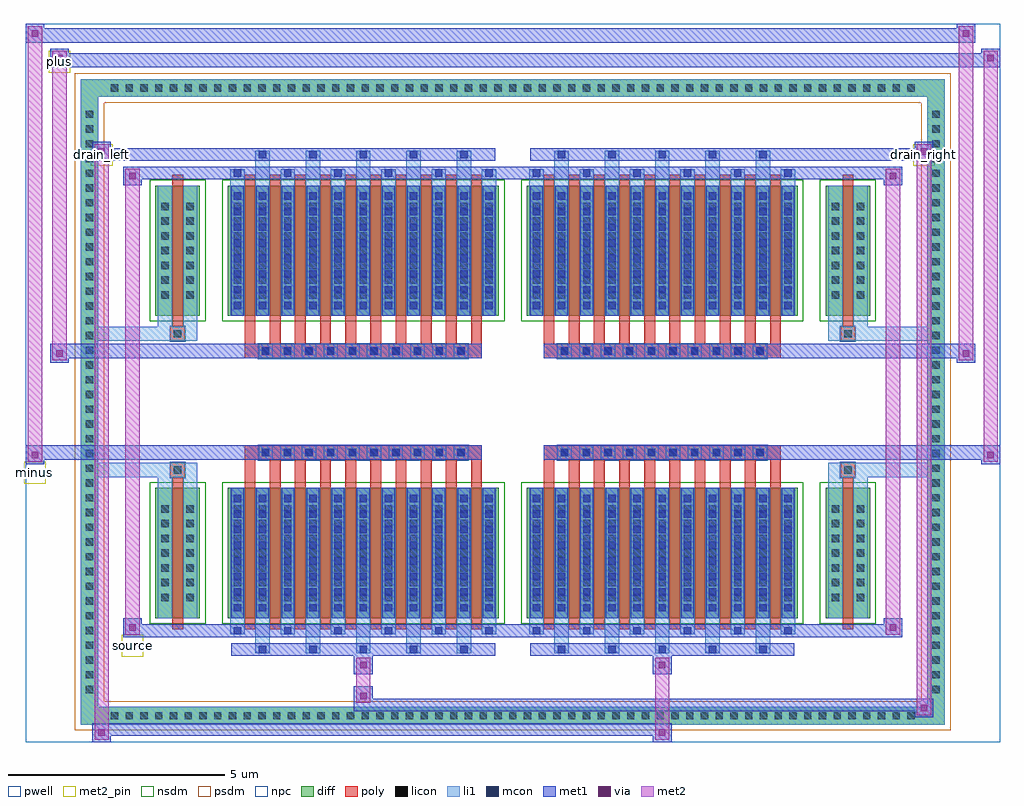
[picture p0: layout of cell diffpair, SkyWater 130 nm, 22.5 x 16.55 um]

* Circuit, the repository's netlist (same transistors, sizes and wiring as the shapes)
* NGSPICE file created from diffpair.ext - technology: sky130A

.subckt diffpair minus drain_right drain_left source plus
X0 drain_left plus source a_n1992_n1488# sky130_fd_pr__nfet_01v8 ad=0.495 pd=3.33 as=0.495 ps=3.33 w=3 l=0.25
X1 drain_left plus source a_n1992_n1488# sky130_fd_pr__nfet_01v8 ad=0.495 pd=3.33 as=0.495 ps=3.33 w=3 l=0.25
X2 drain_right minus source a_n1992_n1488# sky130_fd_pr__nfet_01v8 ad=0.495 pd=3.33 as=0.495 ps=3.33 w=3 l=0.25
X3 source minus drain_right a_n1992_n1488# sky130_fd_pr__nfet_01v8 ad=0.495 pd=3.33 as=0.495 ps=3.33 w=3 l=0.25
X4 drain_left plus source a_n1992_n1488# sky130_fd_pr__nfet_01v8 ad=0.495 pd=3.33 as=1.17 ps=6.78 w=3 l=0.25
X5 source minus drain_right a_n1992_n1488# sky130_fd_pr__nfet_01v8 ad=0.495 pd=3.33 as=0.495 ps=3.33 w=3 l=0.25
X6 drain_right minus source a_n1992_n1488# sky130_fd_pr__nfet_01v8 ad=0.495 pd=3.33 as=0.495 ps=3.33 w=3 l=0.25
X7 drain_left plus source a_n1992_n1488# sky130_fd_pr__nfet_01v8 ad=0.495 pd=3.33 as=0.495 ps=3.33 w=3 l=0.25
X8 source minus drain_right a_n1992_n1488# sky130_fd_pr__nfet_01v8 ad=0.495 pd=3.33 as=0.495 ps=3.33 w=3 l=0.25
X9 drain_right minus source a_n1992_n1488# sky130_fd_pr__nfet_01v8 ad=0.495 pd=3.33 as=1.17 ps=6.78 w=3 l=0.25
X10 a_n1992_n1488# a_n1992_n1488# a_n1992_n1488# a_n1992_n1488# sky130_fd_pr__nfet_01v8 ad=1.17 pd=6.78 as=9.36 ps=54.24 w=3 l=0.25
X11 source plus drain_left a_n1992_n1488# sky130_fd_pr__nfet_01v8 ad=1.17 pd=6.78 as=0.495 ps=3.33 w=3 l=0.25
X12 source plus drain_left a_n1992_n1488# sky130_fd_pr__nfet_01v8 ad=0.495 pd=3.33 as=0.495 ps=3.33 w=3 l=0.25
X13 drain_left plus source a_n1992_n1488# sky130_fd_pr__nfet_01v8 ad=0.495 pd=3.33 as=0.495 ps=3.33 w=3 l=0.25
X14 drain_left plus source a_n1992_n1488# sky130_fd_pr__nfet_01v8 ad=0.495 pd=3.33 as=1.17 ps=6.78 w=3 l=0.25
X15 source minus drain_right a_n1992_n1488# sky130_fd_pr__nfet_01v8 ad=0.495 pd=3.33 as=0.495 ps=3.33 w=3 l=0.25
X16 source minus drain_right a_n1992_n1488# sky130_fd_pr__nfet_01v8 ad=0.495 pd=3.33 as=0.495 ps=3.33 w=3 l=0.25
X17 drain_left plus source a_n1992_n1488# sky130_fd_pr__nfet_01v8 ad=0.495 pd=3.33 as=0.495 ps=3.33 w=3 l=0.25
X18 source minus drain_right a_n1992_n1488# sky130_fd_pr__nfet_01v8 ad=1.17 pd=6.78 as=0.495 ps=3.33 w=3 l=0.25
X19 drain_left plus source a_n1992_n1488# sky130_fd_pr__nfet_01v8 ad=0.495 pd=3.33 as=0.495 ps=3.33 w=3 l=0.25
X20 source plus drain_left a_n1992_n1488# sky130_fd_pr__nfet_01v8 ad=0.495 pd=3.33 as=0.495 ps=3.33 w=3 l=0.25
X21 source plus drain_left a_n1992_n1488# sky130_fd_pr__nfet_01v8 ad=0.495 pd=3.33 as=0.495 ps=3.33 w=3 l=0.25
X22 source plus drain_left a_n1992_n1488# sky130_fd_pr__nfet_01v8 ad=0.495 pd=3.33 as=0.495 ps=3.33 w=3 l=0.25
X23 source plus drain_left a_n1992_n1488# sky130_fd_pr__nfet_01v8 ad=0.495 pd=3.33 as=0.495 ps=3.33 w=3 l=0.25
X24 a_n1992_n1488# a_n1992_n1488# a_n1992_n1488# a_n1992_n1488# sky130_fd_pr__nfet_01v8 ad=1.17 pd=6.78 as=0 ps=0 w=3 l=0.25
X25 source plus drain_left a_n1992_n1488# sky130_fd_pr__nfet_01v8 ad=0.495 pd=3.33 as=0.495 ps=3.33 w=3 l=0.25
X26 source plus drain_left a_n1992_n1488# sky130_fd_pr__nfet_01v8 ad=0.495 pd=3.33 as=0.495 ps=3.33 w=3 l=0.25
X27 drain_right minus source a_n1992_n1488# sky130_fd_pr__nfet_01v8 ad=0.495 pd=3.33 as=0.495 ps=3.33 w=3 l=0.25
X28 source plus drain_left a_n1992_n1488# sky130_fd_pr__nfet_01v8 ad=0.495 pd=3.33 as=0.495 ps=3.33 w=3 l=0.25
X29 drain_right minus source a_n1992_n1488# sky130_fd_pr__nfet_01v8 ad=0.495 pd=3.33 as=1.17 ps=6.78 w=3 l=0.25
X30 drain_right minus source a_n1992_n1488# sky130_fd_pr__nfet_01v8 ad=0.495 pd=3.33 as=0.495 ps=3.33 w=3 l=0.25
X31 source plus drain_left a_n1992_n1488# sky130_fd_pr__nfet_01v8 ad=1.17 pd=6.78 as=0.495 ps=3.33 w=3 l=0.25
X32 a_n1992_n1488# a_n1992_n1488# a_n1992_n1488# a_n1992_n1488# sky130_fd_pr__nfet_01v8 ad=1.17 pd=6.78 as=0 ps=0 w=3 l=0.25
X33 drain_left plus source a_n1992_n1488# sky130_fd_pr__nfet_01v8 ad=0.495 pd=3.33 as=0.495 ps=3.33 w=3 l=0.25
X34 drain_right minus source a_n1992_n1488# sky130_fd_pr__nfet_01v8 ad=0.495 pd=3.33 as=0.495 ps=3.33 w=3 l=0.25
X35 source minus drain_right a_n1992_n1488# sky130_fd_pr__nfet_01v8 ad=0.495 pd=3.33 as=0.495 ps=3.33 w=3 l=0.25
X36 drain_right minus source a_n1992_n1488# sky130_fd_pr__nfet_01v8 ad=0.495 pd=3.33 as=0.495 ps=3.33 w=3 l=0.25
X37 drain_right minus source a_n1992_n1488# sky130_fd_pr__nfet_01v8 ad=0.495 pd=3.33 as=0.495 ps=3.33 w=3 l=0.25
X38 drain_right minus source a_n1992_n1488# sky130_fd_pr__nfet_01v8 ad=0.495 pd=3.33 as=0.495 ps=3.33 w=3 l=0.25
X39 source minus drain_right a_n1992_n1488# sky130_fd_pr__nfet_01v8 ad=0.495 pd=3.33 as=0.495 ps=3.33 w=3 l=0.25
X40 drain_left plus source a_n1992_n1488# sky130_fd_pr__nfet_01v8 ad=0.495 pd=3.33 as=0.495 ps=3.33 w=3 l=0.25
X41 source minus drain_right a_n1992_n1488# sky130_fd_pr__nfet_01v8 ad=0.495 pd=3.33 as=0.495 ps=3.33 w=3 l=0.25
X42 source minus drain_right a_n1992_n1488# sky130_fd_pr__nfet_01v8 ad=1.17 pd=6.78 as=0.495 ps=3.33 w=3 l=0.25
X43 a_n1992_n1488# a_n1992_n1488# a_n1992_n1488# a_n1992_n1488# sky130_fd_pr__nfet_01v8 ad=1.17 pd=6.78 as=0 ps=0 w=3 l=0.25
.ends

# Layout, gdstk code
import gdstk
lib = gdstk.Library(unit=1e-6, precision=5e-09)
def R(c, l, rs):  # rectangles x0, y0, x1, y1
    for r in rs: c.add(gdstk.rectangle(r[:2], r[2:], *l))
def A(c, l, x, y, w, h, nx, ny, dx, dy):  # array of equal rectangles
    R(c, l, [(x+i*dx, y+j*dy, x+i*dx+w, y+j*dy+h) for i in range(nx) for j in range(ny)])
def P(c, l, *ps):  # polygons
    for p in ps: c.add(gdstk.Polygon(p, *l))
pwell = (64, 44)
diff = (65, 20)
poly = (66, 20)
licon = (66, 44)
li1 = (67, 20)
mcon = (67, 44)
met1 = (68, 20)
via = (68, 44)
met2_pin = (69, 16)
met2 = (69, 20)
nsdm = (93, 44)
psdm = (94, 20)
npc = (95, 20)

diffpair = lib.new_cell('diffpair')
R(diffpair, pwell, [(-11.23,-7.84,11.23,8.71), (-8.55,-6.03,-0.01,-0.805), (0.01,-6.03,8.55,-0.805), (-8.55,0.805,-0.01,6.03), (0.01,0.805,8.55,6.03)])
A(diffpair, diff, -9.385, -7.44, 0.41, 0.41, 55, 2, 0.34, 14.47)
A(diffpair, diff, -9.96, -6.835, 0.41, 0.41, 1, 40, 0, 0.34)
A(diffpair, diff, 9.55, -6.835, 0.41, 0.41, 1, 40, 0, 0.34)
R(diffpair, diff, [(-9.385,-7.44,9.385,-7.03), (-9.96,-6.835,-9.55,6.835), (9.55,-6.835,9.96,6.835), (-8.24,-4.985,-7.21,-1.985), (-6.57,-4.985,-0.32,-1.985), (0.32,-4.985,6.57,-1.985), (7.21,-4.985,8.24,-1.985), (-8.24,1.985,-7.21,4.985), (-6.57,1.985,-0.32,4.985), (0.32,1.985,6.57,4.985), (7.21,1.985,8.24,4.985), (-9.385,7.03,9.385,7.44)])
P(diffpair, diff, [(9.96,7.44),(-9.96,7.44),(-9.96,-7.03),(-9.55,-7.03),(-9.55,7.03),(9.55,7.03),(9.55,-7.03),(-9.55,-7.03),(-9.96,-7.03),(-9.96,-7.44),(9.96,-7.44)])
A(diffpair, poly, -6.18, -5.235, 0.25, 3.5, 10, 2, 0.58, 6.97)
A(diffpair, poly, 0.71, -5.235, 0.25, 3.5, 10, 2, 0.58, 6.97)
A(diffpair, poly, -6.18, -1.735, 0.25, 0.4, 10, 2, 0.58, 3.07)
A(diffpair, poly, 0.71, -1.735, 0.25, 0.4, 10, 2, 0.58, 3.07)
A(diffpair, poly, -5.86, -1.335, 0.33, 0.33, 10, 2, 0.5, 2.34)
A(diffpair, poly, 1.03, -1.335, 0.33, 0.33, 10, 2, 0.5, 2.34)
R(diffpair, poly, [(-7.85,-5.235,-7.6,-1.735), (7.6,-5.235,7.85,-1.735), (-7.89,-1.735,-7.56,-1.405), (-7.89,-1.735,-7.56,-1.405), (7.56,-1.735,7.89,-1.405), (7.56,-1.735,7.89,-1.405), (-6.18,-1.335,-0.71,-1.005), (0.71,-1.335,6.18,-1.005), (-6.18,1.005,-0.71,1.335), (0.71,1.005,6.18,1.335), (-7.89,1.405,-7.56,1.735), (-7.89,1.405,-7.56,1.735), (7.56,1.405,7.89,1.735), (7.56,1.405,7.89,1.735), (-7.85,1.735,-7.6,5.235), (7.6,1.735,7.85,5.235)])
A(diffpair, licon, -9.265, -7.32, 0.17, 0.17, 55, 2, 0.34, 14.47)
A(diffpair, licon, -9.84, -6.715, 0.17, 0.17, 1, 40, 0, 0.34)
A(diffpair, licon, 9.67, -6.715, 0.17, 0.17, 1, 40, 0, 0.34)
A(diffpair, licon, -8.1, -4.59, 0.17, 0.17, 1, 7, 0, 0.34)
A(diffpair, licon, -7.52, -4.59, 0.17, 0.17, 1, 7, 0, 0.34)
A(diffpair, licon, -6.43, -4.59, 0.17, 0.17, 11, 7, 0.58, 0.34)
A(diffpair, licon, 0.46, -4.59, 0.17, 0.17, 11, 7, 0.58, 0.34)
A(diffpair, licon, 7.35, -4.59, 0.17, 0.17, 1, 7, 0, 0.34)
A(diffpair, licon, 7.93, -4.59, 0.17, 0.17, 1, 7, 0, 0.34)
A(diffpair, licon, -5.78, -1.255, 0.17, 0.17, 10, 2, 0.5, 2.34)
A(diffpair, licon, 1.11, -1.255, 0.17, 0.17, 10, 2, 0.5, 2.34)
A(diffpair, licon, -8.1, 2.38, 0.17, 0.17, 1, 7, 0, 0.34)
A(diffpair, licon, -7.52, 2.38, 0.17, 0.17, 1, 7, 0, 0.34)
A(diffpair, licon, -6.43, 2.38, 0.17, 0.17, 11, 7, 0.58, 0.34)
A(diffpair, licon, 0.46, 2.38, 0.17, 0.17, 11, 7, 0.58, 0.34)
A(diffpair, licon, 7.35, 2.38, 0.17, 0.17, 1, 7, 0, 0.34)
A(diffpair, licon, 7.93, 2.38, 0.17, 0.17, 1, 7, 0, 0.34)
R(diffpair, licon, [(-7.81,-1.655,-7.64,-1.485), (7.64,-1.655,7.81,-1.485), (-7.81,1.485,-7.64,1.655), (7.64,1.485,7.81,1.655)])
A(diffpair, li1, -9.345, -7.4, 0.33, 0.33, 55, 2, 0.34, 14.47)
A(diffpair, li1, -9.92, -6.795, 0.33, 0.33, 1, 40, 0, 0.34)
A(diffpair, li1, 9.59, -6.795, 0.33, 0.33, 1, 40, 0, 0.34)
A(diffpair, li1, -5.93, -5.79, 0.33, 0.805, 5, 2, 1.16, 10.775)
A(diffpair, li1, -5.85, -5.79, 0.17, 0.17, 5, 2, 1.16, 11.41)
A(diffpair, li1, 0.96, -5.79, 0.33, 0.805, 5, 2, 1.16, 10.775)
A(diffpair, li1, 1.04, -5.79, 0.17, 0.17, 5, 2, 1.16, 11.41)
A(diffpair, li1, -6.51, -5.36, 0.33, 0.375, 6, 2, 1.16, 10.345)
A(diffpair, li1, -6.43, -5.36, 0.17, 0.17, 6, 2, 1.16, 10.55)
A(diffpair, li1, 0.38, -5.36, 0.33, 0.375, 6, 2, 1.16, 10.345)
A(diffpair, li1, 0.46, -5.36, 0.17, 0.17, 6, 2, 1.16, 10.55)
A(diffpair, li1, -6.51, -4.985, 0.33, 3, 11, 2, 0.58, 6.97)
A(diffpair, li1, 0.38, -4.985, 0.33, 3, 11, 2, 0.58, 6.97)
A(diffpair, li1, -6.43, -4.83, 0.17, 0.17, 11, 8, 0.58, 0.36)
A(diffpair, li1, -6.43, -4.83, 0.17, 2.69, 11, 2, 0.58, 6.97)
A(diffpair, li1, 0.46, -4.83, 0.17, 0.17, 11, 8, 0.58, 0.36)
A(diffpair, li1, 0.46, -4.83, 0.17, 2.69, 11, 2, 0.58, 6.97)
A(diffpair, li1, -8.18, -4.67, 0.33, 0.33, 1, 7, 0, 0.34)
A(diffpair, li1, -7.6, -4.67, 0.33, 0.33, 1, 7, 0, 0.34)
A(diffpair, li1, -6.51, -4.67, 0.33, 0.33, 11, 7, 0.58, 0.34)
A(diffpair, li1, 0.38, -4.67, 0.33, 0.33, 11, 7, 0.58, 0.34)
A(diffpair, li1, 7.27, -4.67, 0.33, 0.33, 1, 7, 0, 0.34)
A(diffpair, li1, 7.85, -4.67, 0.33, 0.33, 1, 7, 0, 0.34)
A(diffpair, li1, -5.86, -1.335, 0.33, 0.33, 10, 2, 0.5, 2.34)
A(diffpair, li1, 1.03, -1.335, 0.33, 0.33, 10, 2, 0.5, 2.34)
A(diffpair, li1, -6.43, 2.14, 0.17, 0.17, 11, 8, 0.58, 0.36)
A(diffpair, li1, 0.46, 2.14, 0.17, 0.17, 11, 8, 0.58, 0.36)
A(diffpair, li1, -8.18, 2.3, 0.33, 0.33, 1, 7, 0, 0.34)
A(diffpair, li1, -7.6, 2.3, 0.33, 0.33, 1, 7, 0, 0.34)
A(diffpair, li1, -6.51, 2.3, 0.33, 0.33, 11, 7, 0.58, 0.34)
A(diffpair, li1, 0.38, 2.3, 0.33, 0.33, 11, 7, 0.58, 0.34)
A(diffpair, li1, 7.27, 2.3, 0.33, 0.33, 1, 7, 0, 0.34)
A(diffpair, li1, 7.85, 2.3, 0.33, 0.33, 1, 7, 0, 0.34)
R(diffpair, li1, [(-9.96,-7.44,-9.55,-7.03), (-9.96,-7.44,-9.55,-7.03), (-9.55,-7.44,9.55,-7.03), (9.55,-7.44,9.96,-7.03), (9.55,-7.44,9.96,-7.03), (-9.96,-7.03,-9.55,7.03), (9.55,-7.03,9.96,7.03), (-8.18,-4.985,-7.85,-1.985), (-7.6,-4.985,-7.27,-1.985), (7.27,-4.985,7.6,-1.985), (7.85,-4.985,8.18,-1.985), (-8.18,-1.985,-7.85,-1.405), (-7.6,-1.985,-7.27,-1.405), (7.27,-1.985,7.6,-1.405), (7.85,-1.985,8.18,-1.405), (-9.96,-1.735,-7.89,-1.405), (-8.18,-1.735,-7.89,-1.405), (-7.89,-1.735,-7.56,-1.405), (-7.56,-1.735,-7.27,-1.405), (7.27,-1.735,7.56,-1.405), (7.56,-1.735,7.89,-1.405), (7.56,-1.735,9.96,-1.405), (7.89,-1.735,8.18,-1.405), (-9.96,1.405,-7.89,1.735), (-8.18,1.405,-7.89,1.735), (-8.18,1.405,-7.85,1.985), (-7.89,1.405,-7.56,1.735), (-7.6,1.405,-7.27,1.985), (-7.56,1.405,-7.27,1.735), (7.27,1.405,7.56,1.735), (7.27,1.405,7.6,1.985), (7.56,1.405,7.89,1.735), (7.56,1.405,9.96,1.735), (7.85,1.405,8.18,1.985), (7.89,1.405,8.18,1.735), (-8.18,1.985,-7.85,4.985), (-7.6,1.985,-7.27,4.985), (7.27,1.985,7.6,4.985), (7.85,1.985,8.18,4.985), (-9.96,7.03,-9.55,7.44), (-9.96,7.03,-9.55,7.44), (-9.55,7.03,9.55,7.44), (9.55,7.03,9.96,7.44), (9.55,7.03,9.96,7.44)])
A(diffpair, mcon, -5.85, -5.79, 0.17, 0.17, 5, 2, 1.16, 11.41)
A(diffpair, mcon, 1.04, -5.79, 0.17, 0.17, 5, 2, 1.16, 11.41)
A(diffpair, mcon, -6.43, -5.36, 0.17, 0.17, 6, 2, 1.16, 10.55)
A(diffpair, mcon, 0.46, -5.36, 0.17, 0.17, 6, 2, 1.16, 10.55)
A(diffpair, mcon, -6.43, -4.83, 0.17, 0.17, 11, 8, 0.58, 0.36)
A(diffpair, mcon, 0.46, -4.83, 0.17, 0.17, 11, 8, 0.58, 0.36)
A(diffpair, mcon, -5.78, -1.255, 0.17, 0.17, 10, 2, 0.5, 2.34)
A(diffpair, mcon, 1.11, -1.255, 0.17, 0.17, 10, 2, 0.5, 2.34)
A(diffpair, mcon, -6.43, 2.14, 0.17, 0.17, 11, 8, 0.58, 0.36)
A(diffpair, mcon, 0.46, 2.14, 0.17, 0.17, 11, 8, 0.58, 0.36)
A(diffpair, met1, -5.91, -5.85, 0.29, 0.29, 5, 2, 1.16, 11.41)
A(diffpair, met1, 0.98, -5.85, 0.29, 0.29, 5, 2, 1.16, 11.41)
A(diffpair, met1, -6.49, -5.42, 0.29, 0.29, 6, 2, 1.16, 10.55)
A(diffpair, met1, 0.4, -5.42, 0.29, 0.29, 6, 2, 1.16, 10.55)
A(diffpair, met1, -6.49, -4.985, 0.29, 3, 11, 2, 0.58, 6.97)
A(diffpair, met1, 0.4, -4.985, 0.29, 3, 11, 2, 0.58, 6.97)
A(diffpair, met1, -6.49, -4.89, 0.29, 0.29, 11, 8, 0.58, 0.36)
A(diffpair, met1, 0.4, -4.89, 0.29, 0.29, 11, 8, 0.58, 0.36)
A(diffpair, met1, -5.84, -1.315, 0.29, 0.29, 10, 2, 0.5, 2.34)
A(diffpair, met1, 1.05, -1.315, 0.29, 0.29, 10, 2, 0.5, 2.34)
A(diffpair, met1, -6.49, 2.08, 0.29, 0.29, 11, 8, 0.58, 0.36)
A(diffpair, met1, 0.4, 2.08, 0.29, 0.29, 11, 8, 0.58, 0.36)
R(diffpair, met1, [(-9.69,-7.84,-9.26,-7.41), (3.23,-7.84,3.66,-7.41), (-9.69,-7.7,3.66,-7.41), (9.26,-7.27,9.69,-6.84), (-3.66,-7.13,9.69,-6.84), (-3.66,-6.99,-3.23,-6.56), (-3.66,-6.28,-3.23,-5.85), (3.23,-6.28,3.66,-5.85), (-6.49,-5.85,-0.4,-5.56), (0.4,-5.85,6.49,-5.56), (-8.98,-5.42,-8.55,-4.99), (-8.98,-5.42,-6.49,-5.13), (-6.49,-5.42,-0.4,-5.13), (-0.4,-5.42,0.4,-5.13), (0.4,-5.42,6.49,-5.13), (6.49,-5.42,8.98,-5.13), (8.55,-5.42,8.98,-4.99), (-11.23,-1.435,-10.8,-1.005), (10.8,-1.435,11.23,-1.005), (-11.23,-1.335,-0.71,-1.005), (-6.18,-1.335,-0.71,-1.005), (0.71,-1.335,6.18,-1.005), (0.71,-1.335,11.23,-1.005), (-10.66,0.905,-10.23,1.335), (10.23,0.905,10.66,1.335), (-10.66,1.005,-6.18,1.335), (-6.18,1.005,-0.71,1.335), (0.71,1.005,6.18,1.335), (6.18,1.005,10.66,1.335), (-8.98,4.99,-8.55,5.42), (8.55,4.99,8.98,5.42), (-8.98,5.13,-6.49,5.42), (-6.49,5.13,-0.4,5.42), (-0.4,5.13,0.4,5.42), (0.4,5.13,6.49,5.42), (6.49,5.13,8.98,5.42), (-9.69,5.56,-9.26,5.99), (-9.69,5.56,-6.49,5.85), (-6.49,5.56,-0.4,5.85), (0.4,5.56,6.49,5.85), (6.49,5.56,9.69,5.85), (9.26,5.56,9.69,5.99), (-10.66,7.71,-10.23,8.14), (-10.66,7.71,-8.55,8.04), (-8.55,7.71,8.55,8.04), (8.55,7.71,11.23,8.04), (10.8,7.71,11.23,8.14), (-11.23,8.28,-10.8,8.71), (-11.23,8.28,-8.55,8.61), (-8.55,8.28,8.55,8.61), (8.55,8.28,10.66,8.61), (10.23,8.28,10.66,8.71)])
R(diffpair, via, [(-9.55,-7.7,-9.4,-7.55), (3.37,-7.7,3.52,-7.55), (9.4,-7.13,9.55,-6.98), (-3.52,-6.85,-3.37,-6.7), (-3.52,-6.14,-3.37,-5.99), (3.37,-6.14,3.52,-5.99), (-8.84,-5.28,-8.69,-5.13), (8.69,-5.28,8.84,-5.13), (-11.09,-1.295,-10.94,-1.145), (10.94,-1.295,11.09,-1.145), (-10.52,1.045,-10.37,1.195), (10.37,1.045,10.52,1.195), (-8.84,5.13,-8.69,5.28), (8.69,5.13,8.84,5.28), (-9.55,5.7,-9.4,5.85), (9.4,5.7,9.55,5.85), (-10.52,7.85,-10.37,8), (10.94,7.85,11.09,8), (-11.09,8.42,-10.94,8.57), (10.37,8.42,10.52,8.57)])
R(diffpair, met2_pin, [(-9.015,-5.87,-8.515,-5.37), (-11.265,-1.885,-10.765,-1.385), (-9.725,5.44,-9.225,5.94), (9.225,5.44,9.725,5.94), (-10.695,7.59,-10.195,8.09)])
R(diffpair, met2, [(-9.64,-7.79,-9.31,-7.46), (-9.64,-7.79,-9.31,5.94), (3.28,-7.79,3.61,-7.46), (3.28,-7.46,3.61,-6.23), (9.31,-7.22,9.64,-6.89), (9.31,-7.22,9.64,5.94), (-3.61,-6.94,-3.28,-6.61), (-3.61,-6.61,-3.28,-6.23), (-3.61,-6.23,-3.28,-5.9), (3.28,-6.23,3.61,-5.9), (-8.93,-5.37,-8.6,-5.04), (-8.93,-5.37,-8.6,5.37), (8.6,-5.37,8.93,-5.04), (8.6,-5.37,8.93,5.37), (-11.18,-1.385,-10.85,-1.055), (-11.18,-1.385,-10.85,8.66), (10.85,-1.385,11.18,-1.055), (10.85,-1.385,11.18,8.09), (-10.61,0.955,-10.28,1.285), (-10.61,0.955,-10.28,8.09), (10.28,0.955,10.61,1.285), (10.28,0.955,10.61,8.66), (-8.93,5.04,-8.6,5.37), (8.6,5.04,8.93,5.37), (-9.64,5.61,-9.31,5.94), (9.31,5.61,9.64,5.94), (-10.61,7.76,-10.28,8.09), (10.85,7.76,11.18,8.09), (-11.18,8.33,-10.85,8.66), (10.28,8.33,10.61,8.66)])
P(diffpair, met2, [(11.18,-1.385),(11.18,-1.385),(11.18,-1.055),(11.18,-1.055)],
  [(11.18,7.76),(11.18,7.76),(11.18,8.09),(11.18,8.09)],
  [(-10.85,-1.385),(-10.85,-1.385),(-10.85,-1.055),(-10.85,-1.055)],
  [(-10.85,8.33),(-10.85,8.33),(-10.85,8.66),(-10.85,8.66)],
  [(10.61,0.955),(10.61,0.955),(10.61,1.285),(10.61,1.285)],
  [(10.61,8.33),(10.61,8.33),(10.61,8.66),(10.61,8.66)],
  [(-10.28,0.955),(-10.28,0.955),(-10.28,1.285),(-10.28,1.285)],
  [(-10.28,7.76),(-10.28,7.76),(-10.28,8.09),(-10.28,8.09)],
  [(-9.31,-7.79),(-9.31,-7.79),(-9.31,-7.46),(-9.31,-7.46)],
  [(-9.31,5.61),(-9.31,5.61),(-9.31,5.94),(-9.31,5.94)],
  [(9.64,-7.22),(9.64,-7.22),(9.64,-6.89),(9.64,-6.89)],
  [(9.64,5.61),(9.64,5.61),(9.64,5.94),(9.64,5.94)],
  [(-8.6,-5.37),(-8.6,-5.37),(-8.6,-5.04),(-8.6,-5.04)],
  [(-8.6,5.04),(-8.6,5.04),(-8.6,5.37),(-8.6,5.37)],
  [(8.93,-5.37),(8.93,-5.37),(8.93,-5.04),(8.93,-5.04)],
  [(8.93,5.04),(8.93,5.04),(8.93,5.37),(8.93,5.37)])
R(diffpair, nsdm, [(-8.37,-5.115,-7.08,-1.855), (-6.7,-5.115,-0.19,-1.855), (0.19,-5.115,6.7,-1.855), (7.08,-5.115,8.37,-1.855), (-8.37,1.855,-7.08,5.115), (-6.7,1.855,-0.19,5.115), (0.19,1.855,6.7,5.115), (7.08,1.855,8.37,5.115)])
P(diffpair, psdm, [(10.09,7.57),(-10.09,7.57),(-10.09,-6.9),(-9.42,-6.9),(-9.42,6.9),(9.42,6.9),(9.42,-6.9),(-9.42,-6.9),(-10.09,-6.9),(-10.09,-7.57),(10.09,-7.57)])
A(diffpair, npc, -5.88, -1.355, 0.37, 0.37, 10, 2, 0.5, 2.34)
A(diffpair, npc, 1.01, -1.355, 0.37, 0.37, 10, 2, 0.5, 2.34)
R(diffpair, npc, [(-7.91,-1.755,-7.54,-1.385), (7.54,-1.755,7.91,-1.385), (-5.88,-1.355,-5.01,-0.985), (-5.88,-1.355,-5.01,-0.985), (-5.38,-1.355,-4.51,-0.985), (-5.38,-1.355,-4.51,-0.985), (-4.88,-1.355,-4.01,-0.985), (-4.88,-1.355,-4.01,-0.985), (-4.38,-1.355,-3.51,-0.985), (-4.38,-1.355,-3.51,-0.985), (-3.88,-1.355,-3.01,-0.985), (-3.88,-1.355,-3.01,-0.985), (-3.38,-1.355,-2.51,-0.985), (-3.38,-1.355,-2.51,-0.985), (-2.88,-1.355,-2.01,-0.985), (-2.88,-1.355,-2.01,-0.985), (-2.38,-1.355,-1.51,-0.985), (-2.38,-1.355,-1.51,-0.985), (-1.88,-1.355,-1.01,-0.985), (-1.88,-1.355,-1.01,-0.985), (1.01,-1.355,1.88,-0.985), (1.01,-1.355,1.88,-0.985), (1.51,-1.355,2.38,-0.985), (1.51,-1.355,2.38,-0.985), (2.01,-1.355,2.88,-0.985), (2.01,-1.355,2.88,-0.985), (2.51,-1.355,3.38,-0.985), (2.51,-1.355,3.38,-0.985), (3.01,-1.355,3.88,-0.985), (3.01,-1.355,3.88,-0.985), (3.51,-1.355,4.38,-0.985), (3.51,-1.355,4.38,-0.985), (4.01,-1.355,4.88,-0.985), (4.01,-1.355,4.88,-0.985), (4.51,-1.355,5.38,-0.985), (4.51,-1.355,5.38,-0.985), (5.01,-1.355,5.88,-0.985), (5.01,-1.355,5.88,-0.985), (-5.88,0.985,-5.01,1.355), (-5.88,0.985,-5.01,1.355), (-5.38,0.985,-4.51,1.355), (-5.38,0.985,-4.51,1.355), (-4.88,0.985,-4.01,1.355), (-4.88,0.985,-4.01,1.355), (-4.38,0.985,-3.51,1.355), (-4.38,0.985,-3.51,1.355), (-3.88,0.985,-3.01,1.355), (-3.88,0.985,-3.01,1.355), (-3.38,0.985,-2.51,1.355), (-3.38,0.985,-2.51,1.355), (-2.88,0.985,-2.01,1.355), (-2.88,0.985,-2.01,1.355), (-2.38,0.985,-1.51,1.355), (-2.38,0.985,-1.51,1.355), (-1.88,0.985,-1.01,1.355), (-1.88,0.985,-1.01,1.355), (1.01,0.985,1.88,1.355), (1.01,0.985,1.88,1.355), (1.51,0.985,2.38,1.355), (1.51,0.985,2.38,1.355), (2.01,0.985,2.88,1.355), (2.01,0.985,2.88,1.355), (2.51,0.985,3.38,1.355), (2.51,0.985,3.38,1.355), (3.01,0.985,3.88,1.355), (3.01,0.985,3.88,1.355), (3.51,0.985,4.38,1.355), (3.51,0.985,4.38,1.355), (4.01,0.985,4.88,1.355), (4.01,0.985,4.88,1.355), (4.51,0.985,5.38,1.355), (4.51,0.985,5.38,1.355), (5.01,0.985,5.88,1.355), (5.01,0.985,5.88,1.355), (-7.91,1.385,-7.54,1.755), (7.54,1.385,7.91,1.755)])
diffpair.add(gdstk.Label('minus', (-11.015,-1.635), layer=69, texttype=5))
diffpair.add(gdstk.Label('drain_right', (9.475,5.69), layer=69, texttype=5))
diffpair.add(gdstk.Label('drain_left', (-9.475,5.69), layer=69, texttype=5))
diffpair.add(gdstk.Label('source', (-8.765,-5.62), layer=69, texttype=5))
diffpair.add(gdstk.Label('plus', (-10.445,7.84), layer=69, texttype=5))

lib.write_gds('diffpair.gds')
